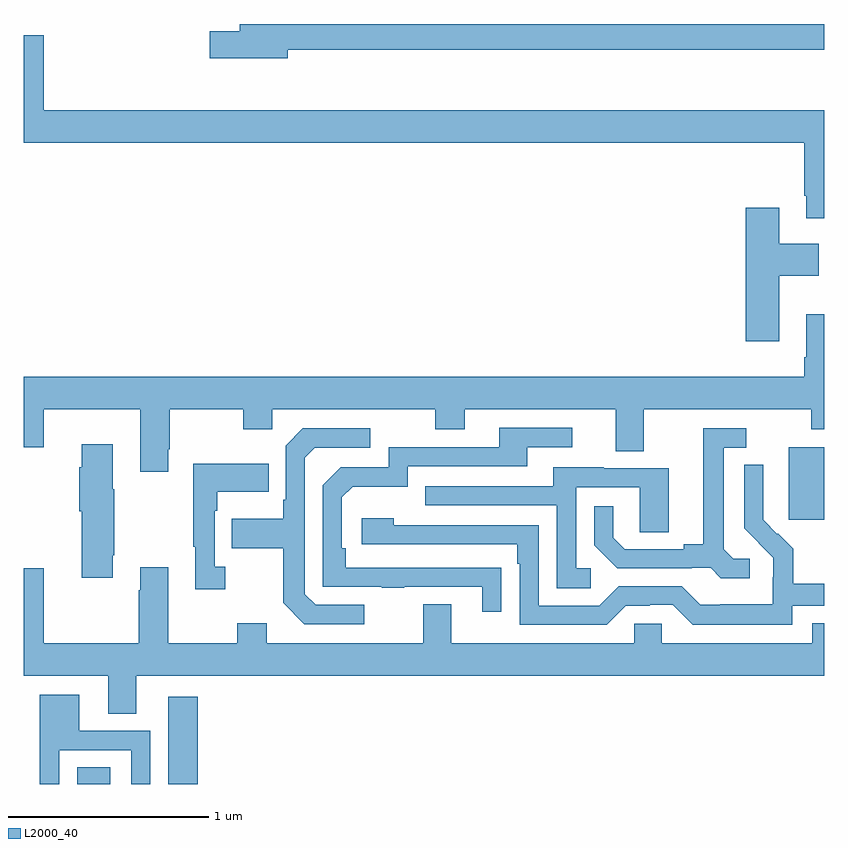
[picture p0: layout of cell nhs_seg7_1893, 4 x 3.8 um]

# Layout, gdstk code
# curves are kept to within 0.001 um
import gdstk
lib = gdstk.Library(unit=1e-6, precision=1e-09)
def R(c, l, rs):  # rectangles x0, y0, x1, y1
    for r in rs: c.add(gdstk.rectangle(r[:2], r[2:], *l))
def P(c, l, *ps):  # polygons
    for p in ps: c.add(gdstk.Polygon(p, *l))
L2000_40 = (2000, 40)

nhs_seg7_1893 = lib.new_cell('nhs_seg7_1893')
R(nhs_seg7_1893, L2000_40, [(237.266,1076,237.433,1076.084), (237.722,1076,237.869,1076.437), (240.824,1077.321,241,1077.682)])
P(nhs_seg7_1893, L2000_40, [(238.318,1079.67),(241,1079.67),(241,1079.798),(238.079,1079.798),(238.079,1079.762),(237.93,1079.762),(237.93,1079.627),(238.318,1079.627)],
  [(241,1079.368),(237.1,1079.368),(237.1,1079.743),(237,1079.743),(237,1079.204),(240.899,1079.204),(240.899,1078.939),(240.911,1078.939),(240.911,1078.827),(241,1078.827)],
  [(240.775,1078.541),(240.973,1078.541),(240.973,1078.699),(240.775,1078.699),(240.775,1078.879),(240.608,1078.879),(240.608,1078.212),(240.775,1078.212)],
  [(237,1077.684),(237.1,1077.684),(237.1,1077.872),(237.581,1077.872),(237.581,1077.561),(237.721,1077.561),(237.721,1077.673),(237.729,1077.673),(237.729,1077.872),(238.096,1077.872),(238.096,1077.773),(238.242,1077.773),(238.242,1077.872),(239.056,1077.872),(239.056,1077.773),(239.203,1077.773),(239.203,1077.872),(239.957,1077.872),(239.957,1077.664),(240.097,1077.664),(240.097,1077.872),(240.934,1077.872),(240.934,1077.773),(241,1077.773),(241,1078.348),(240.911,1078.348),(240.911,1078.132),(240.899,1078.132),(240.899,1078.036),(237,1078.036)],
  [(239.387,1077.08),(238.61,1077.081),(238.61,1077.178),(238.59,1077.178),(238.59,1077.432),(238.643,1077.485),(238.92,1077.485),(238.92,1077.588),(239.515,1077.588),(239.515,1077.684),(239.74,1077.684),(239.74,1077.78),(239.375,1077.78),(239.375,1077.684),(238.824,1077.684),(238.824,1077.582),(238.584,1077.582),(238.494,1077.492),(238.494,1076.985),(238.789,1076.985),(238.789,1076.98),(238.901,1076.98),(238.901,1076.985),(239.291,1076.985),(239.291,1076.862),(239.387,1076.862)],
  [(238.702,1076.895),(238.458,1076.895),(238.404,1076.949),(238.404,1077.63),(238.455,1077.681),(238.732,1077.681),(238.732,1077.777),(238.395,1077.777),(238.308,1077.69),(238.308,1077.421),(238.296,1077.421),(238.296,1077.325),(238.039,1077.325),(238.039,1077.178),(238.296,1077.178),(238.296,1076.905),(238.401,1076.799),(238.702,1076.799)],
  [(240.628,1077.126),(240.546,1077.126),(240.499,1077.173),(240.499,1077.681),(240.61,1077.681),(240.61,1077.777),(240.395,1077.777),(240.395,1077.197),(240.299,1077.197),(240.299,1077.174),(240.004,1077.174),(239.947,1077.231),(239.947,1077.388),(239.85,1077.388),(239.85,1077.194),(239.966,1077.078),(240.338,1077.078),(240.338,1077.081),(240.432,1077.081),(240.484,1077.029),(240.628,1077.029)],
  [(237.445,1077.142),(237.453,1077.142),(237.453,1077.473),(237.445,1077.473),(237.445,1077.697),(237.29,1077.697),(237.29,1077.584),(237.278,1077.584),(237.278,1077.363),(237.29,1077.363),(237.29,1077.03),(237.445,1077.03)],
  [(238.006,1077.086),(237.954,1077.086),(237.954,1077.365),(237.967,1077.365),(237.967,1077.461),(238.223,1077.461),(238.223,1077.601),(237.846,1077.601),(237.846,1077.185),(237.857,1077.185),(237.857,1076.973),(238.006,1076.973)],
  [(240.84,1076.892),(241,1076.892),(241,1077.001),(240.845,1077.001),(240.845,1077.175),(240.768,1077.252),(240.765,1077.249),(240.695,1077.32),(240.696,1077.596),(240.6,1077.596),(240.6,1077.278),(240.746,1077.13),(240.746,1077.033),(240.744,1077.033),(240.744,1076.899),(240.481,1076.899),(240.481,1076.895),(240.381,1076.895),(240.288,1076.988),(239.973,1076.988),(239.877,1076.892),(239.574,1076.892),(239.574,1077.294),(238.85,1077.294),(238.85,1077.328),(238.689,1077.328),(238.689,1077.198),(239.465,1077.198),(239.465,1077.101),(239.478,1077.101),(239.478,1076.796),(239.913,1076.796),(240.009,1076.892),(240.128,1076.892),(240.128,1076.895),(240.243,1076.895),(240.343,1076.795),(240.84,1076.795)],
  [(239.833,1077.078),(239.76,1077.078),(239.76,1077.483),(240.078,1077.483),(240.078,1077.259),(240.223,1077.259),(240.223,1077.579),(239.899,1077.579),(239.899,1077.583),(239.645,1077.583),(239.645,1077.489),(239.005,1077.489),(239.005,1077.393),(239.664,1077.393),(239.664,1076.977),(239.833,1076.977)],
  [(237.562,1076.54),(241,1076.54),(241,1076.803),(240.941,1076.803),(240.941,1076.704),(240.189,1076.704),(240.189,1076.802),(240.051,1076.802),(240.051,1076.704),(239.137,1076.704),(239.137,1076.899),(238.997,1076.899),(238.997,1076.704),(238.213,1076.704),(238.213,1076.803),(238.066,1076.803),(238.066,1076.704),(237.721,1076.704),(237.721,1077.082),(237.581,1077.082),(237.581,1076.969),(237.574,1076.969),(237.574,1076.704),(237.1,1076.704),(237.1,1077.079),(237,1077.079),(237,1076.54),(237.422,1076.54),(237.422,1076.35),(237.562,1076.35)],
  [(237.177,1076.169),(237.537,1076.169),(237.537,1076),(237.633,1076),(237.633,1076.265),(237.277,1076.265),(237.277,1076.446),(237.081,1076.446),(237.081,1076),(237.177,1076)])

lib.write_gds('nhs_seg7_1893.gds')
